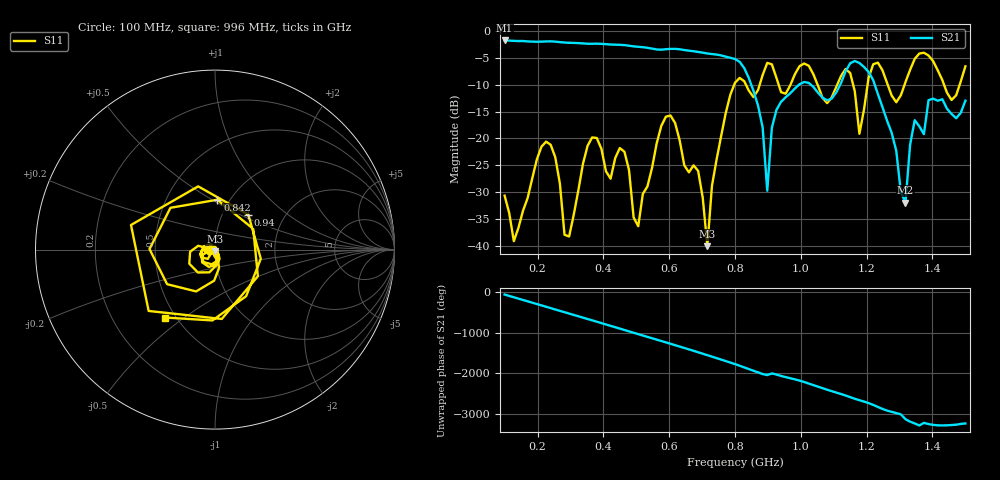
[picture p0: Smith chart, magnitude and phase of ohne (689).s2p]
! NanoVNA-App
! Date: 2025-09-25 14:26:10
! Start: 100MHz Stop: 1,5GHz Points: 101
! S-Parameter data: F S11 S21 S12 S22
# Hz S RI R 50
!  Frequency  S11_Real  S11_Imag  S21_Real  S21_Imag  S12_Real  S12_Imag  S22_Real  S22_Imag
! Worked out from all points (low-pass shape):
!   101 points, 100 MHz to 1.5 GHz, reference 50 ohm
!   highest |S21| = -1.79 dB at 100 MHz (marker M1); lowest = -31.9 dB at 1.318 GHz (marker M2)
!   |S21| within 3 dB of the highest: start of sweep to 771.2 MHz
!   lowest |S11| = -40.0 dB at 716 MHz (marker M3), VSWR 1.02, Z = 49.8 - j0.975 ohm
!   |S11| at or under -10 dB: start of sweep to 797.8 MHz; 833.1 MHz to 875.1 MHz (41.99 MHz wide, 4.92 % of centre); 1.051 GHz to 1.111 GHz (59.88 MHz wide, 5.54 % of centre) (the widest 3 of 7)
!   S12 and S22 are empty: the file has one direction only
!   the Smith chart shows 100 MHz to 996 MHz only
!   S11 on the Smith chart (normalised r, x): 100 MHz: 0.94, -0.01; 842 MHz: 0.88, +0.53; 940 MHz: 1.32, +0.56; 996 MHz: 0.44, -0.43
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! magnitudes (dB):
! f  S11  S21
! 100 MHz  -30.6  -1.8
! 128 MHz  -39.1  -1.9
! 226 MHz  -20.6  -2.0
! 296 MHz  -38.2  -2.2
! 338 MHz  -24.7  -2.3
! 464 MHz  -22.5  -2.7
! 506 MHz  -36.3  -3.0
! 576 MHz  -17.7  -3.5
! 688 MHz  -26.0  -3.9
! 716 MHz  -40.0  -4.2
! 800 MHz  -9.7  -5.2
! 842 MHz  -11.1  -8.8
! 898 MHz  -6.0  -29.7
! 940 MHz  -11.4  -13.2
! 996 MHz  -6.6  -9.9
! 1.038 GHz  -8.1  -10.4
! 1.178 GHz  -19.1  -6.0
! 1.22 GHz  -6.2  -9.2
! 1.276 GHz  -12.0  -18.9
! 1.318 GHz  -9.5  -31.9
! 1.346 GHz  -5.2  -16.6
! 1.5 GHz  -6.6  -13.0
